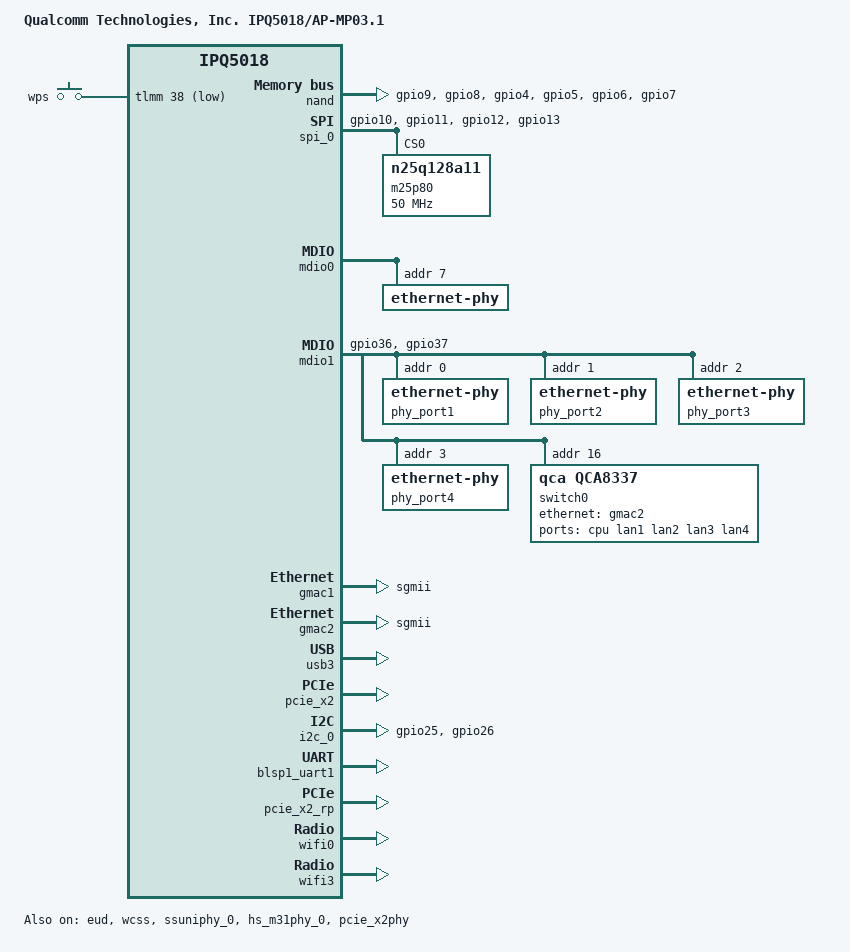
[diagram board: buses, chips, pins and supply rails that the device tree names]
/dts-v1/;
/* Copyright (c) 2018-2021, The Linux Foundation. All rights reserved.
 *
 * Copyright (c) 2021 Qualcomm Innovation Center, Inc. All rights reserved.
 *
 * Permission to use, copy, modify, and/or distribute this software for any
 * purpose with or without fee is hereby granted, provided that the above
 * copyright notice and this permission notice appear in all copies.
 *
 * THE SOFTWARE IS PROVIDED "AS IS" AND THE AUTHOR DISCLAIMS ALL WARRANTIES
 * WITH REGARD TO THIS SOFTWARE INCLUDING ALL IMPLIED WARRANTIES OF
 * MERCHANTABILITY AND FITNESS. IN NO EVENT SHALL THE AUTHOR BE LIABLE FOR
 * ANY SPECIAL, DIRECT, INDIRECT, OR CONSEQUENTIAL DAMAGES OR ANY DAMAGES
 * WHATSOEVER RESULTING FROM LOSS OF USE, DATA OR PROFITS, WHETHER IN AN
 * ACTION OF CONTRACT, NEGLIGENCE OR OTHER TORTIOUS ACTION, ARISING OUT OF
 * OR IN CONNECTION WITH THE USE OR PERFORMANCE OF THIS SOFTWARE.
 */

#include "ipq5018.dtsi"

/ {
	#address-cells = <0x2>;
	#size-cells = <0x2>;
	model = "Qualcomm Technologies, Inc. IPQ5018/AP-MP03.1";
	compatible = "qcom,ipq5018-ap-mp03.1", "qcom,ipq5018-mp03.1", "qcom,ipq5018";
	interrupt-parent = <&intc>;

	aliases {
		sdhc1 = &sdhc_1; /* SDC1 eMMC slot */
		serial0 = &blsp1_uart1;
		serial1 = &blsp1_uart2;
		ethernet0 = "/soc/dp1";
		ethernet1 = "/soc/dp2";
	};

	chosen {
		bootargs = "console=ttyMSM0,115200,n8 rw init=/init";
		bootargs-append = " swiotlb=1 coherent_pool=2M";
		stdout-path = "serial0";
	};

	reserved-memory {
	#ifdef __IPQ_MEM_PROFILE_256_MB__
	/*            256 MB Profile
	 * +=========+==============+========================+
	 * |        |              |                         |
	 * | Region | Start Offset |          Size           |
	 * |        |              |                         |
	 * +--------+--------------+-------------------------+
	 * |        |              |                         |
	 * |        |              |                         |
	 * |  NSS   |  0x40000000  |          8MB            |
	 * |        |              |                         |
	 * |        |              |                         |
	 * +--------+--------------+-------------------------+
	 * |        |              |                         |
	 * |        |              |                         |
	 * |        |              |                         |
	 * |        |              |                         |
	 * | Linux  |  0x40800000  | Depends on total memory |
	 * |        |              |                         |
	 * |        |              |                         |
	 * |        |              |                         |
	 * +        |              |                         |
	 * +--------+--------------+-------------------------+
	 * |        |              |                         |
	 * | uboot  |  0x4A600000  |           4MB           |
	 * |        |              |                         |
	 * +--------+--------------+-------------------------+
	 * |  SBL   |  0x4AA00000  |           1MB           |
	 * +--------+--------------+-------------------------+
	 * |  smem  |  0x4AB00000  |           1MB           |
	 * +--------+--------------+-------------------------+
	 * |        |              |                         |
	 * |   TZ   |  0x4AC00000  |           4MB           |
	 * |        |              |                         |
	 * +--------+--------------+-------------------------+
	 * |        |              |                         |
	 * |        |              |                         |
	 * |        |              |                         |
	 * |   Q6   |  0x4B000000  |          23MB           |
	 * |        |              |                         |
	 * |        |              |                         |
	 * |        |              |                         |
	 * +--------+--------------+-------------------------+
	 * | M3 Dump| 0x4C700000   |          1MB            |
	 * +--------+--------------+-------------------------+
	 * | QDSS   | 0x4C800000   |          1MB            |
	 * +--------+--------------+-------------------------+
	 * |        |              |                         |
	 * |QCN9000 |  0x4C900000  |          17MB           |
	 * |        |              |                         |
	 * +--------+--------------+-------------------------+
	 * |        |              |                         |
	 * |  MHI1  |  0x4DA00000  |           5MB           |
	 * |        |              |                         |
	 * +--------+--------------+-------------------------+
	 * |                                                 |
	 * |      Rest of the memory for Linux               |
	 * |                                                 |
	 * +=================================================+
	 */
		q6_region: memory@4b000000 {
			no-map;
			reg = <0x0 0x4b000000 0x0 0x01700000>;
		};

		m3_dump@4c700000 {
			no-map;
			reg = <0x0 0x4C700000 0x0 0x100000>;
		};

		q6_etr_region:q6_etr_dump@4c800000 {
			no-map;
			reg = <0x0 0x4c800000 0x0 0x100000>;
		};

		qcn9000_pcie0: qcn9000_pcie0@4c900000 {
			no-map;
			reg = <0x0 0x4C900000 0x0 0x01100000>;
		};

	#if defined(__CNSS2__)
		mhi_region1: dma_pool1@4da00000 {
			compatible = "shared-dma-pool";
			no-map;
			reg = <0x0 0x4DA00000 0x0 0x00500000>;
		};
	#endif
	#elif __IPQ_MEM_PROFILE_512_MB__
	/*                      512 MB Profile
	 * +=========+==============+========================+
	 * |        |              |                         |
	 * | Region | Start Offset |          Size           |
	 * |        |              |                         |
	 * +--------+--------------+-------------------------+
	 * |        |              |                         |
	 * |        |              |                         |
	 * |  NSS   |  0x40000000  |          16MB           |
	 * |        |              |                         |
	 * |        |              |                         |
	 * +--------+--------------+-------------------------+
	 * |        |              |                         |
	 * |        |              |                         |
	 * |        |              |                         |
	 * |        |              |                         |
	 * | Linux  |  0x41000000  | Depends on total memory |
	 * |        |              |                         |
	 * |        |              |                         |
	 * |        |              |                         |
	 * |        |              |                         |
	 * +--------+--------------+-------------------------+
	 * |        |              |                         |
	 * | uboot  |  0x4A600000  |           4MB           |
	 * |        |              |                         |
	 * +--------+--------------+-------------------------+
	 * |  SBL   |  0x4AA00000  |           1MB           |
	 * +--------+--------------+-------------------------+
	 * |  smem  |  0x4AB00000  |           1MB           |
	 * +--------+--------------+-------------------------+
	 * |        |              |                         |
	 * |   TZ   |  0x4AC00000  |           4MB           |
	 * |        |              |                         |
	 * +--------+--------------+-------------------------+
	 * |        |              |                         |
	 * |        |              |                         |
	 * |        |              |                         |
	 * |   Q6   |  0x4B000000  |          23MB           |
	 * |        |              |                         |
	 * |        |              |                         |
	 * +--------+--------------+-------------------------+
	 * | M3 Dump|  0x4C700000  |           1MB           |
	 * +--------+--------------+-------------------------+
	 * |  QDSS  |  0x4C800000  |           1MB           |
	 * +--------+--------------+-------------------------+
	 * | caldb  |  0x4C900000  |           2MB           |
	 * +--------+--------------+-------------------------+
	 * |        |              |                         |
	 * |QCN9000 |  0x4CB00000  |          26MB           |
	 * |        |              |                         |
	 * +--------+--------------+-------------------------+
	 * |        |              |                         |
	 * |  MHI1  |  0x4E500000  |           5MB           |
	 * |        |              |                         |
	 * +--------+--------------+-------------------------+
	 * |                                                 |
	 * |      Rest of the memory for Linux               |
	 * |                                                 |
	 * +=================================================+
	 */
		q6_region: memory@4b000000 {
			no-map;
			reg = <0x0 0x4b000000 0x0 0x01700000>;
		};

		m3_dump@4c700000 {
			no-map;
			reg = <0x0 0x4c700000 0x0 0x100000>;
		};

		q6_etr_region:q6_etr_dump@4c800000 {
			no-map;
			reg = <0x0 0x4c800000 0x0 0x100000>;
		};

		q6_caldb_region:q6_caldb_region@4c900000 {
			no-map;
			reg = <0x0 0x4c900000 0x0 0x200000>;
		};

		qcn9000_pcie0: qcn9000_pcie0@4cb00000 {
			no-map;
			reg = <0x0 0x4CB00000 0x0 0x1A00000>;
		};

	#if defined(__CNSS2__)
		mhi_region1: dma_pool1@4E500000 {
			compatible = "shared-dma-pool";
			no-map;
			reg = <0x0 0x4E500000 0x0 0x00500000>;
		};
	#endif
	#else
	/*                      1G Profile
	 * +=========+==============+========================+
	 * |        |              |                         |
	 * | Region | Start Offset |          Size           |
	 * |        |              |                         |
	 * +--------+--------------+-------------------------+
	 * |        |              |                         |
	 * |        |              |                         |
	 * |  NSS   |  0x40000000  |          16MB           |
	 * |        |              |                         |
	 * |        |              |                         |
	 * +--------+--------------+-------------------------+
	 * |        |              |                         |
	 * |        |              |                         |
	 * |        |              |                         |
	 * |        |              |                         |
	 * | Linux  |  0x41000000  | Depends on total memory |
	 * |        |              |                         |
	 * |        |              |                         |
	 * |        |              |                         |
	 * |        |              |                         |
	 * +--------+--------------+-------------------------+
	 * |        |              |                         |
	 * | uboot  |  0x4A600000  |           4MB           |
	 * |        |              |                         |
	 * +--------+--------------+-------------------------+
	 * |  SBL   |  0x4AA00000  |           1MB           |
	 * +--------+--------------+-------------------------+
	 * |  smem  |  0x4AB00000  |           1MB           |
	 * +--------+--------------+-------------------------+
	 * |        |              |                         |
	 * |   TZ   |  0x4AC00000  |           4MB           |
	 * |        |              |                         |
	 * +--------+--------------+-------------------------+
	 * |        |              |                         |
	 * |        |              |                         |
	 * |        |              |                         |
	 * |   Q6   |  0x4B000000  |          23MB           |
	 * |        |              |                         |
	 * |        |              |                         |
	 * +--------+--------------+-------------------------+
	 * | M3 Dump|  0x4C700000  |           1MB           |
	 * +--------+--------------+-------------------------+
	 * |  QDSS  |  0x4C800000  |           1MB           |
	 * +--------+--------------+-------------------------+
	 * | caldb  |  0x4C900000  |           2MB           |
	 * +--------+--------------+-------------------------+
	 * |        |              |                         |
	 * |QCN9000 |  0x4CB00000  |          53MB           |
	 * |        |              |                         |
	 * +--------+--------------+-------------------------+
	 * |        |              |                         |
	 * |  MHI1  |  0x50000000  |           5MB           |
	 * |        |              |                         |
	 * +--------+--------------+-------------------------+
	 * |                                                 |
	 * |      Rest of the memory for Linux               |
	 * |                                                 |
	 * +=================================================+
	 */
		q6_region: memory@4b000000 {
			no-map;
			reg = <0x0 0x4b000000 0x0 0x01700000>;
		};

		m3_dump@4c700000 {
			no-map;
			reg = <0x0 0x4c700000 0x0 0x100000>;
		};

		q6_etr_region:q6_etr_dump@4c800000 {
			no-map;
			reg = <0x0 0x4c800000 0x0 0x100000>;
		};

		q6_caldb_region:q6_caldb_region@4c900000 {
			no-map;
			reg = <0x0 0x4c900000 0x0 0x200000>;
		};

		qcn9000_pcie0: qcn9000_pcie0@4cb00000 {
			no-map;
			reg = <0x0 0x4CB00000 0x0 0x03500000>;
		};

	#if defined(__CNSS2__)
		mhi_region1: dma_pool1@50000000 {
			compatible = "shared-dma-pool";
			no-map;
			reg = <0x0 0x50000000 0x0 0x00500000>;
		};
	#endif
	#endif
	};

	soc {
		blsp1_uart2: serial@78b0000 {
			pinctrl-0 = <&blsp1_uart_pins>;
			pinctrl-names = "default";
		};

		qpic_bam: dma@7984000{
			status = "ok";
		};

		nand: qpic-nand@79b0000 {
			pinctrl-0 = <&qspi_nand_pins>;
			pinctrl-names = "default";
			qcom,io_macro_max_clk = <320000000>;
			qcom,io_macro_clk_rates = <24000000 100000000 200000000 \
						   320000000>;
			status = "ok";
		};

		spi_0: spi@78b5000 { /* BLSP1 QUP0 */
			pinctrl-0 = <&blsp0_spi_pins>;
			pinctrl-names = "default";
			cs-select = <0>;
			status = "ok";

			m25p80@0 {
				#address-cells = <1>;
				#size-cells = <1>;
				reg = <0>;
				compatible = "n25q128a11";
				linux,modalias = "m25p80", "n25q128a11";
				spi-max-frequency = <50000000>;
				use-default-sizes;
			};
		};

		mdio0: mdio@88000 {
			status = "ok";

			ethernet-phy@0 {
				reg = <7>;
			};
		};

		mdio1: mdio@90000 {
			status = "ok";
			pinctrl-0 = <&mdio1_pins>;
			pinctrl-names = "default";
			phy-reset-gpio = <&tlmm 39 0>;

			phy_port1: ethernet-phy@0 {
				reg = <0>;
			};

			phy_port2: ethernet-phy@1 {
				reg = <1>;
			};

			phy_port3: ethernet-phy@2 {
				reg = <2>;
			};

			phy_port4: ethernet-phy@3 {
				reg = <3>;
			};

			switch0@10 {
				compatible = "qca,qca8337";
				#address-cells = <1>;
				#size-cells = <0>;
				reg = <0x10>;

				ports {
					#address-cells = <1>;
					#size-cells = <0>;

					port@0 {
						reg = <6>;
						label = "cpu";
						ethernet = <&gmac2>;
						phy-mode = "sgmii";
						fixed-link {
							speed = <1000>;
							full-duplex;
						};
					};

					port@1 {
						reg = <1>;
						label = "lan1";
						phy-handle = <&phy_port1>;
					};

					port@2 {
						reg = <2>;
						label = "lan2";
						phy-handle = <&phy_port2>;
					};

					port@3 {
						reg = <3>;
						label = "lan3";
						phy-handle = <&phy_port3>;
					};

					port@4 {
						reg = <4>;
						label = "lan4";
						phy-handle = <&phy_port4>;
					};
				};
			};
		};

		ess-instance {
			num_devices = <0x2>;
			ess-switch@0x39c00000 {
				compatible = "qcom,ess-switch-ipq50xx";
				device_id = <0>;
				switch_mac_mode = <0xf>; /* mac mode for uniphy instance*/
				cmnblk_clk = "internal_96MHz"; /* cmnblk clk*/
				qcom,port_phyinfo {
					port@0 {
						port_id = <1>;
						phy_address = <7>;
					};
					port@1 {
						port_id = <2>;
						forced-speed = <1000>;
						forced-duplex = <1>;
					};
				};
				led_source@0 {
					source = <0>;
					mode = "normal";
					speed = "all";
					blink_en = "enable";
					active = "high";
				};
			};
			ess-switch1@1 {
				compatible = "qcom,ess-switch-qca83xx";
				device_id = <1>;
				switch_access_mode = "mdio";
				mdio-bus = <&mdio1>;
				reset_gpio = <&tlmm 0x27 0>;
				switch_cpu_bmp = <0x40>;  /* cpu port bitmap */
				switch_lan_bmp = <0x1e>; /* lan port bitmap */
				switch_wan_bmp = <0x0>;  /* wan port bitmap */
				qca,ar8327-initvals = <
						0x00004 0x7600000   /* PAD0_MODE */
						0x00008 0x1000000   /* PAD5_MODE */
						0x0000c 0x80        /* PAD6_MODE */
						0x00010 0x2613a0    /* PORT6 FORCE MODE*/
						0x000e4 0xaa545     /* MAC_POWER_SEL */
						0x000e0 0xc74164de  /* SGMII_CTRL */
						0x0007c 0x4e        /* PORT0_STATUS */
						0x00094 0x4e        /* PORT6_STATUS */
				>;
				qcom,port_phyinfo {
					port@0 {
						port_id = <1>;
						phy_address = <0>;
					};
					port@1 {
						port_id = <2>;
						phy_address = <1>;
					};
					port@2 {
						port_id = <3>;
						phy_address = <2>;
					};
					port@3 {
						port_id = <4>;
						phy_address = <3>;
					};
				};
			};
		};

		ess-uniphy@98000 {
			status = "disabled";
		};

		qcom,sps {
			status = "ok";
		};

		qcom,diag@0 {
			status = "ok";
		};

		gmac1:dp1 {
			device_type = "network";
			compatible = "qcom,nss-dp";
			clocks = <&gcc GCC_SNOC_GMAC0_AXI_CLK>;
			clock-names = "nss-snoc-gmac-axi-clk";
			qcom,id = <1>;
			reg = <0x39C00000 0x10000>;
			interrupts = <GIC_SPI 101 IRQ_TYPE_LEVEL_HIGH>;
			qcom,mactype = <2>;
			qcom,link-poll = <1>;
			qcom,phy-mdio-addr = <7>;
			mdio-bus = <&mdio0>;
			local-mac-address = [000000000000];
			phy-mode = "sgmii";
			qcom,rx-page-mode = <0>;
		};

		gmac2:dp2 {
			device_type = "network";
			compatible = "qcom,nss-dp";
			clocks = <&gcc GCC_SNOC_GMAC1_AXI_CLK>;
			clock-names = "nss-snoc-gmac-axi-clk";
			qcom,id = <2>;
			reg = <0x39D00000 0x10000>;
			interrupts = <GIC_SPI 109 IRQ_TYPE_LEVEL_HIGH>;
			qcom,mactype = <2>;
			local-mac-address = [000000000000];
			phy-mode = "sgmii";
			qcom,rx-page-mode = <0>;
		};

		rpm_etm0 {
			status = "disabled";
		};

		pcm: pcm@0xA3C0000{
			pinctrl-0 = <&audio_pins>;
			pinctrl-names = "default";
		};
	};

	qcom,test@0 {
		status = "ok";
	};

	thermal-zones {
		status = "ok";
	};
};

&tlmm {
	pinctrl-0 = <&blsp0_uart_pins &phy_led_pins>;
	pinctrl-names = "default";

	blsp0_uart_pins: blsp0_uart_pins {
		blsp0_uart_rx_tx {
			pins = "gpio20", "gpio21";
			function = "blsp0_uart0";
			bias-disable;
		};
	};

	blsp1_uart_pins: blsp1_uart_pins {
		blsp1_uart_rx_tx {
			pins = "gpio23", "gpio25", "gpio24", "gpio26";
			function = "blsp1_uart2";
			bias-disable;
		};
	};

	blsp0_spi_pins: blsp0_spi_pins {
		mux {
			pins = "gpio10", "gpio11", "gpio12", "gpio13";
			function = "blsp0_spi";
			drive-strength = <2>;
			bias-disable;
		};
	};

	qspi_nand_pins: qspi_nand_pins {
		qspi_clock {
				pins = "gpio9";
				function = "qspi_clk";
				drive-strength = <8>;
				bias-disable;
			};

		qspi_cs {
				pins = "gpio8";
				function = "qspi_cs";
				drive-strength = <8>;
				bias-disable;
			};

		qspi_data {
				pins = "gpio4", "gpio5", "gpio6", "gpio7";
				function = "qspi_data";
				drive-strength = <8>;
				bias-disable;
			};
	};

	mdio1_pins: mdio_pinmux {
		mux_0 {
			pins = "gpio36";
			function = "mdc";
			drive-strength = <8>;
			bias-pull-up;
		};

		mux_1 {
			pins = "gpio37";
			function = "mdio";
			drive-strength = <8>;
			bias-pull-up;
		};
	};

	phy_led_pins: phy_led_pins {
		gephy_led_pin {
			pins = "gpio46";
			function = "led0";
			drive-strength = <8>;
			bias-pull-down;
		};
	};

	i2c_pins: i2c_pins {
		i2c_scl {
			pins = "gpio25";
			function = "blsp2_i2c1";
			drive-strength = <8>;
			bias-disable;
		};

		i2c_sda {
			pins = "gpio26";
			function = "blsp2_i2c1";
			drive-strength = <8>;
			bias-disable;
		};
	};

	button_pins: button_pins {
		wps_button {
			pins = "gpio38";
			function = "gpio";
			drive-strength = <8>;
			bias-pull-up;
		};
	};

	audio_pins: audio_pinmux {
		mux_1 {
			pins = "gpio24";
			function = "audio_rxbclk";
			drive-strength = <8>;
			bias-pull-down;
		};

		mux_2 {
			pins = "gpio25";
			function = "audio_rxfsync";
			drive-strength = <8>;
			bias-pull-down;
		};

		mux_3 {
			pins = "gpio26";
			function = "audio_rxd";
			drive-strength = <8>;
			bias-pull-down;
		};

		mux_4 {
			pins = "gpio27";
			function = "audio_txmclk";
			drive-strength = <8>;
			bias-pull-down;
		};

		mux_5 {
			pins = "gpio28";
			function = "audio_txbclk";
			drive-strength = <8>;
			bias-pull-down;
		};

		mux_6 {
			pins = "gpio29";
			function = "audio_txfsync";
			drive-strength = <8>;
			bias-pull-down;
		};

		mux_7 {
			pins = "gpio30";
			function = "audio_txd";
			drive-strength = <8>;
			bias-pull-down;
		};
	};
};

&soc {
	gpio_keys {
		compatible = "gpio-keys";
		pinctrl-0 = <&button_pins>;
		pinctrl-names = "default";

		button@1 {
			label = "wps";
			linux,code = <KEY_WPS_BUTTON>;
			gpios = <&tlmm 38 GPIO_ACTIVE_LOW>;
			linux,input-type = <1>;
			debounce-interval = <60>;
		};
	};
};

&usb3 {
	qcom,multiplexed-phy;
	qcom,phy-mux-regs = <&tcsr_q6_block 0x2540>;
	device-power-gpio = <&tlmm 24 1>;
	status = "ok";
};

&eud {
	status = "ok";
};

&pcie_x1 {
	perst-gpio = <&tlmm 18 GPIO_ACTIVE_LOW>;
};

&pcie_x2 {
	status = "ok";
	perst-gpio = <&tlmm 15 GPIO_ACTIVE_LOW>;
};

&wcss {
	status = "ok";
};

&q6v5_wcss {
	#ifdef __IPQ_MEM_PROFILE_256_MB__
		memory-region = <&q6_region>, <&q6_etr_region>;
	#else
		memory-region = <&q6_region>, <&q6_etr_region>,
				<&q6_caldb_region>;
	#endif
};

&i2c_0 {
	pinctrl-0 = <&i2c_pins>;
	pinctrl-names = "default";
};

&blsp1_uart1 {
	status = "ok";
};

&ssuniphy_0 {
	status = "ok";
};

&hs_m31phy_0 {
	status = "ok";
};

&pcie_x2phy {
	status = "ok";
};

&pcie_x1_rp {
	status = "disabled";

	mhi_0: qcom,mhi@0 {
		reg = <0 0 0 0 0 >;
	};
};

&pcie_x2_rp {
	status = "ok";

	mhi_1: qcom,mhi@1 {
		reg = <0 0 0 0 0 >;
		qrtr_instance_id = <0x20>;
		qti,disable-rddm-prealloc;
		qti,rddm-seg-len = <0x1000>;
		#address-cells = <0x2>;
		#size-cells = <0x2>;
#if defined(__CNSS2__)
		memory-region = <0>,<&mhi_region1>;
#else
		base-addr = <0x4CB00000>;
		m3-dump-addr = <0x4DF00000>;
		etr-addr = <0x4E000000>;
		qcom,caldb-addr = <0x4E100000>;
		pageable-addr = <0x4E900000>;
		qcom,tgt-mem-mode = <0x1>;
#endif
	};
};

&wifi0 {
	/* IPQ5018 */
	mem-region = <&q6_region>;
	qcom,board_id = <0x24>;

	qcom,bdf-addr = <0x4BA00000 0x4BA00000 0x4BA00000
		0x0 0x0 0x0>;
	qcom,caldb-addr = <0x4C900000 0x4C900000 0x0 0x0 0x0 0x0>;
	qcom,caldb-size = <0x200000>;
	status = "ok";
};

&wifi3 {
        /* QCN9000 5G */
        board_id = <0xa0>;
	hremote_node = <&qcn9000_pcie0>;
#ifdef __IPQ_MEM_PROFILE_256_MB__
	/* QCN9000 tgt-mem-mode=2 layout - 17MB
	 * +=========+==============+=========+
	 * |  Region | Start Offset |   Size  |
	 * +---------+--------------+---------+
	 * | HREMOTE |  0x4C900000  |   11MB  |
	 * +---------+--------------+---------+
	 * | M3 Dump |  0x4D400000  |   1MB   |
	 * +---------+--------------+---------+
	 * |   ETR   |  0x4D500000  |   1MB   |
	 * +---------+--------------+---------+
	 * | Pageable|  0x4D600000  |   4MB   |
	 * +==================================+
	 */
	base-addr = <0x4C900000>;
	m3-dump-addr = <0x4D400000>;
	etr-addr = <0x4D500000>;
	caldb-addr = <0>;
	pageable-addr = <0x4D600000>;
	caldb-size = <0>;
	hremote-size = <0xB00000>;
	tgt-mem-mode = <0x2>;
	pageable-size = <0x400000>;
#elif __IPQ_MEM_PROFILE_512_MB__
	/* QCN9000 tgt-mem-mode=1 layout - 26MB
	 * +=========+==============+=========+
	 * |  Region | Start Offset |   Size  |
	 * +---------+--------------+---------+
	 * | HREMOTE |  0x4CB00000  |   12MB  |
	 * +---------+--------------+---------+
	 * | M3 Dump |  0x4D700000  |   1MB   |
	 * +---------+--------------+---------+
	 * |   ETR   |  0x4D800000  |   1MB   |
	 * +---------+--------------+---------+
	 * |  Caldb  |  0x4D900000  |   8MB   |
	 * +---------+--------------+---------+
	 * | Pageable|  0x4E100000  |   4MB   |
	 * +==================================+
	 */
	base-addr = <0x4CB00000>;
	m3-dump-addr = <0x4D700000>;
	etr-addr = <0x4D800000>;
	caldb-addr = <0x4D900000>;
	pageable-addr = <0x4E100000>;
	caldb-size = <0x800000>;
	hremote-size = <0xC00000>;
	tgt-mem-mode = <0x1>;
	pageable-size = <0x400000>;
#else
	/* QCN9000 tgt-mem-mode=0 layout - 53MB
	 * +=========+==============+=========+
	 * |  Region | Start Offset |   Size  |
	 * +---------+--------------+---------+
	 * | HREMOTE |  0x4CB00000  |   35MB  |
	 * +---------+--------------+---------+
	 * | M3 Dump |  0x4EE00000  |   1MB   |
	 * +---------+--------------+---------+
	 * |   ETR   |  0x4EF00000  |   1MB   |
	 * +---------+--------------+---------+
	 * |  Caldb  |  0x4F000000  |   8MB   |
	 * +---------+--------------+---------+
	 * | Pageable|  0x4F800000  |   8MB   |
	 * +==================================+
	 */
	base-addr = <0x4CB00000>;
	m3-dump-addr = <0x4EE00000>;
	etr-addr = <0x4EF00000>;
	caldb-addr = <0x4F000000>;
	pageable-addr = <0x4F800000>;
	hremote-size = <0x2300000>;
	caldb-size = <0x800000>;
	tgt-mem-mode = <0x0>;
	pageable-size = <0x800000>;
#endif
	status = "ok";
};
